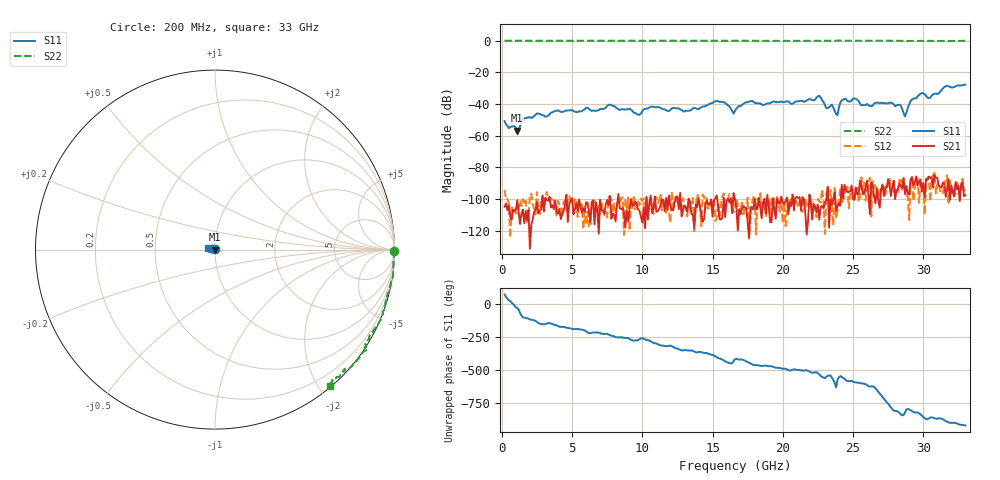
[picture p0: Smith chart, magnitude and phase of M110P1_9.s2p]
# GHZ S RI R 50
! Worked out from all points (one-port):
!   329 points, 200 MHz to 33 GHz, reference 50 ohm
!   lowest |S11| = -56.9 dB at 1.1 GHz (marker M1), VSWR 1.00, Z = 50.1 - j0.0674 ohm
!   |S11| at or under -10 dB: start of sweep to end of sweep
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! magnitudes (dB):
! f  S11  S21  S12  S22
! 200 MHz  -50.8  -105.0  -94.4  0.0
! 1.1 GHz  -56.9  -100.9  -108.8  0.0
! 1.5 GHz  -49.4  -106.7  -100.1  0.0
! 2.5 GHz  -46.0  -102.2  -95.7  0.0
! 5.7 GHz  -44.5  -108.8  -103.5  0.0
! 7.7 GHz  -40.4  -98.1  -98.9  0.0
! 9.8 GHz  -46.8  -107.4  -104.0  0.0
! 11.2 GHz  -42.1  -106.3  -101.2  -0.1
! 13 GHz  -44.8  -104.2  -104.7  0.0
! 15.3 GHz  -38.1  -97.8  -112.5  0.0
! 16.6 GHz  -44.3  -100.2  -104.9  0.0
! 17.7 GHz  -38.2  -105.4  -112.5  0.0
! 22.1 GHz  -37.6  -113.0  -105.8  -0.1
! 22.6 GHz  -34.9  -113.1  -101.6  -0.1
! 23.9 GHz  -47.0  -104.6  -106.8  0.1
! 24.4 GHz  -36.7  -91.1  -98.7  0.0
! 27.6 GHz  -39.2  -90.6  -86.5  0.0
! 28.4 GHz  -40.9  -92.0  -87.9  -0.1
! 28.7 GHz  -47.9  -96.9  -95.6  -0.2
! 29.1 GHz  -38.2  -87.8  -88.9  -0.1
! 29.9 GHz  -33.1  -95.3  -90.1  -0.1
! 33 GHz  -27.8  -97.7  -94.3  0.0
